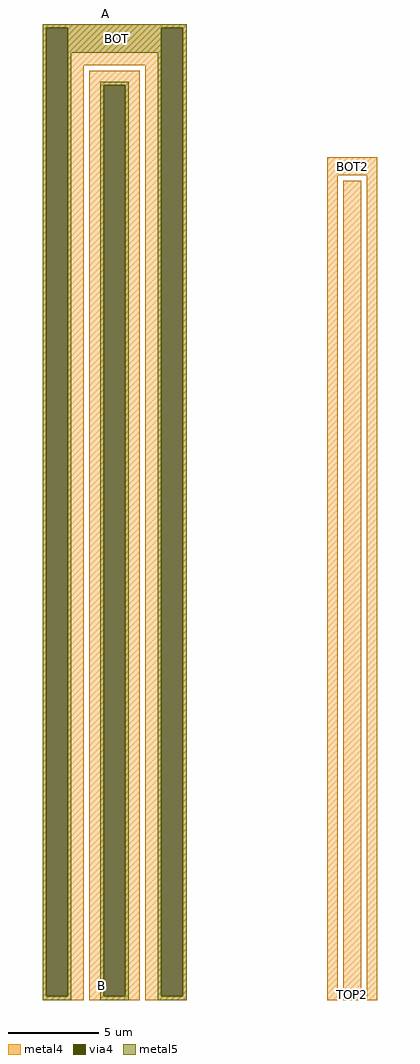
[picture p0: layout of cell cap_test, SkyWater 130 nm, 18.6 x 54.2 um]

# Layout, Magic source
magic
tech sky130B
<< metal4 >>
rect 280 5240 1080 5260
rect 280 -140 300 5240
rect 420 5030 940 5240
rect 420 -140 510 5030
rect 280 -160 510 -140
rect 540 4920 820 5000
rect 540 -140 620 4920
rect 740 -140 820 4920
rect 540 -160 820 -140
rect 850 -140 940 5030
rect 1060 -140 1080 5240
rect 850 -160 1080 -140
rect 1860 4420 2140 4520
rect 1860 -160 1920 4420
rect 1950 -160 2050 4390
rect 2080 -160 2140 4420
<< via4 >>
rect 300 -140 420 5240
rect 620 -140 740 4920
rect 940 -140 1060 5240
<< metal5 >>
rect 280 5240 1080 5260
rect 280 -140 300 5240
rect 420 5100 940 5240
rect 420 -140 440 5100
rect 280 -160 440 -140
rect 600 4920 760 4940
rect 600 -140 620 4920
rect 740 -140 760 4920
rect 600 -160 760 -140
rect 920 -140 940 5100
rect 1060 -140 1080 5240
rect 920 -160 1080 -140
<< labels >>
rlabel space 460 -160 760 0 1 B
rlabel space 480 5240 780 5400 1 A
rlabel metal5 600 -160 760 0 1 TOP
rlabel metal5 610 5100 770 5260 1 BOT
rlabel metal4 1950 -160 2050 -100 1 TOP2
rlabel metal4 1920 4420 2080 4520 1 BOT2
<< end >>
